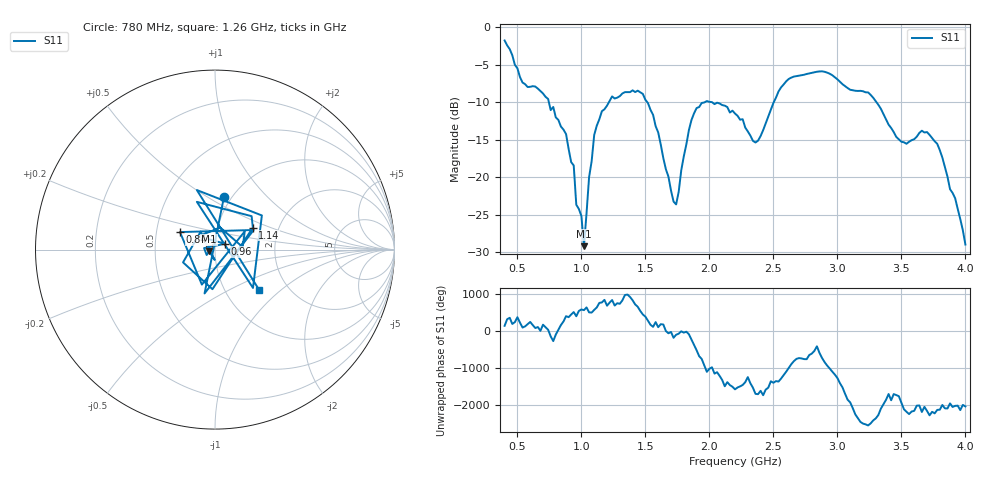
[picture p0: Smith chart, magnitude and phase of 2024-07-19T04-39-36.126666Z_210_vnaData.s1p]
!Created with skrf (http://scikit-rf.org).
# Hz S RI R 50.0
!freq ReS11 ImS11
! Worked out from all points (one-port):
!   181 points, 400 MHz to 4 GHz, reference 50 ohm
!   lowest |S11| = -29.2 dB at 1.02 GHz (marker M1), VSWR 1.07, Z = 46.7 - j0.817 ohm
!   |S11| at or under -10 dB: 746.1 MHz to 1.214 GHz (467.8 MHz wide, 47.7 % of centre); 2.023 GHz to 2.502 GHz (479.5 MHz wide, 21.2 % of centre); 3.306 GHz to end of sweep (the widest 3 of 4)
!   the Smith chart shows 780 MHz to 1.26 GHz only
!   S11 on the Smith chart (normalised r, x): 780 MHz: 0.92, +0.59; 840 MHz: 0.66, +0.14; 960 MHz: 1.12, +0.07; 1.14 GHz: 1.47, +0.38; 1.26 GHz: 1.44, -0.73
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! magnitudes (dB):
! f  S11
! 400 MHz  -1.7
! 540 MHz  -7.3
! 780 MHz  -10.6
! 840 MHz  -13.2
! 860 MHz  -13.6
! 940 MHz  -18.4
! 960 MHz  -23.7
! 1 GHz  -25.2
! 1.02 GHz  -29.2
! 1.06 GHz  -20.0
! 1.1 GHz  -14.3
! 1.14 GHz  -12.3
! 1.26 GHz  -9.5
! 1.3 GHz  -9.2
! 1.48 GHz  -8.9
! 1.6 GHz  -14.0
! 1.72 GHz  -23.2
! 1.76 GHz  -21.9
! 1.84 GHz  -13.7
! 1.9 GHz  -10.8
! 2.2 GHz  -11.5
! 2.36 GHz  -15.4
! 2.66 GHz  -6.6
! 3.1 GHz  -8.3
! 3.24 GHz  -8.7
! 3.56 GHz  -15.3
! 3.78 GHz  -15.5
! 4 GHz  -29.0
